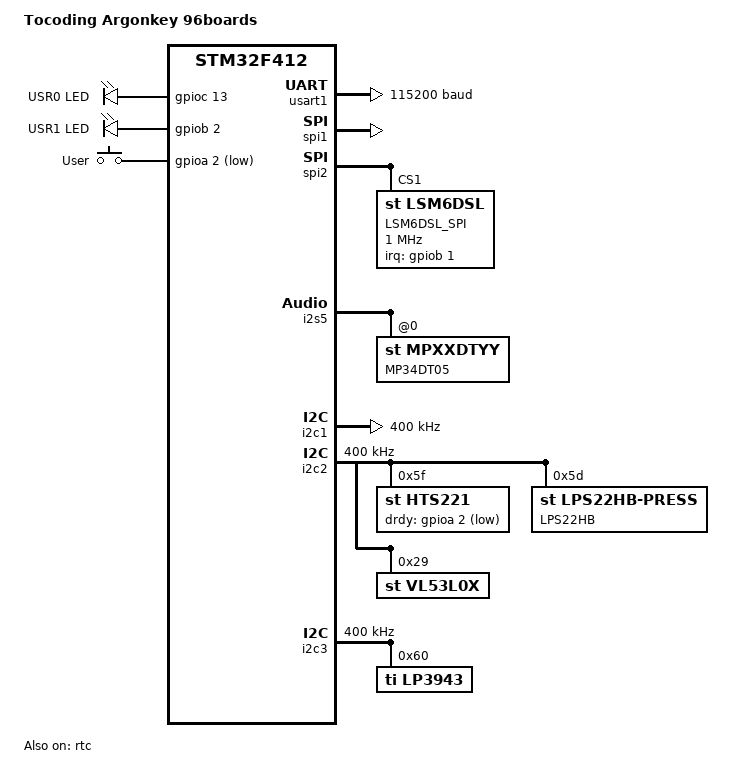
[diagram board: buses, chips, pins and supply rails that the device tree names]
/*
 * Copyright (c) 2018 STMicroelectronics
 *
 * SPDX-License-Identifier: Apache-2.0
 */

/dts-v1/;
#include <st/f4/stm32f412Xg.dtsi>

/ {
	model = "Tocoding Argonkey 96boards";
	compatible = "tocoding,argonkey", "st,stm32f412";

	chosen {
		zephyr,console = &usart1;
		zephyr,shell-uart = &usart1;
		zephyr,sram = &sram0;
		zephyr,flash = &flash0;
	};

	leds {
		compatible = "gpio-leds";
		green_led_0: led_0 {
			gpios = <&gpioc 13 GPIO_INT_ACTIVE_HIGH>;
			label = "USR0 LED";
		};
		green_led_1: led_1 {
			gpios = <&gpiob 2 GPIO_INT_ACTIVE_HIGH>;
			label = "USR1 LED";
		};
	};

	gpio_keys {
		compatible = "gpio-keys";
		user_button: button {
			label = "User";
			gpios = <&gpioa 2 GPIO_INT_ACTIVE_LOW>;
		};
	};

	aliases {
		led0 = &green_led_0;
		led1 = &green_led_1;
		sw0 = &user_button;
	};
};

&usart1 {
	current-speed = <115200>;
	pinctrl-0 = <&usart1_pins_b>;
	pinctrl-names = "default";
	status = "okay";
};

&spi1 {
	status = "okay";
};

&spi2 {
	status = "okay";

	/* ST Microelectronics LSM6DSL accel/gyro sensor */
	lsm6dsl@1 {
		compatible = "st,lsm6dsl";
		reg = <1>;
		spi-max-frequency = <1000000>;
		irq-gpios = <&gpiob 1 0>;
		label = "LSM6DSL_SPI";
	};
};

&i2s5 {
	status = "okay";

	mp34dt05@0 {
		compatible = "st,mpxxdtyy";
		reg = <0>;
		label = "MP34DT05";
	};
};

&i2c1 {
	status = "okay";
	clock-frequency = <I2C_BITRATE_FAST>;
};

&i2c2 {
	status = "okay";
	clock-frequency = <I2C_BITRATE_FAST>;

	hts221@5f {
		compatible = "st,hts221";
		reg = <0x5f>;
		label = "HTS221";
		drdy-gpios = <&gpioa 2 GPIO_INT_ACTIVE_LOW>;
	};

	lps22hb-press@5d {
		compatible = "st,lps22hb-press";
		reg = <0x5d>;
		label = "LPS22HB";
	};

	vl53l0x@29 {
		compatible = "st,vl53l0x";
		reg = <0x29>;
		label = "VL53L0X";
	};
};

&i2c3 {
	status = "okay";
	clock-frequency = <I2C_BITRATE_FAST>;

	lp3943@60 {
		compatible = "ti,lp3943";
		reg = <0x60>;
		label = "LP3943";
	};
};

&rtc {
	status = "okay";
};
